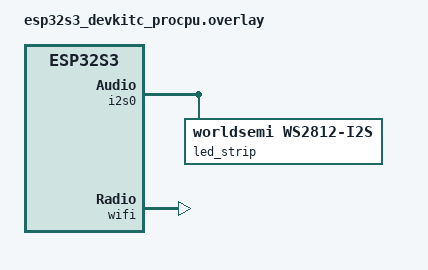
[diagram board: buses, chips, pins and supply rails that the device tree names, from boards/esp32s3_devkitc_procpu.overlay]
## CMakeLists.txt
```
# =============================================================== #
#                             BASIC SETUP                         #
# =============================================================== #
# Sets the minimum cmake version needed to build this project.
cmake_minimum_required(VERSION 3.20.0)

# This is a crucial line. It finds the main Zephyr RTOS installation (using the ZEPHYR_BASE environment variable).
find_package(Zephyr REQUIRED HINTS $ENV{ZEPHYR_BASE})

# Names the project "cyborg-app"
project(esp32s3-wifi-app)



# =============================================================== #
#                PROJECT SPECIFIC SETTING                         #
# =============================================================== #

# This line tells the compiler where to find your custom header files. i.e., inside the "lib" folder inside "src"
target_include_directories(app PRIVATE 
                                lib/led
                                lib/wifi
                                lib/udp
                                lib/tcp)

# This line tells the build system to link the C++ standard library.
target_link_libraries(app PUBLIC stdc++)

# Find all the source files relating led control and add them into led_sources
FILE(GLOB led_sources
        lib/led/*.cpp)

# Find all the source files relating wifi and add them into wifi_sources
FILE(GLOB wifi_sources
        lib/wifi/*.cpp)

# Find all the source files relating udp and add them into udp_sources
FILE(GLOB udp_sources
        lib/udp/*.cpp)

# Find all the source files relating tcp and add them into tcp_sources
FILE(GLOB tcp_sources
        lib/tcp/*.cpp)

# Take all these source files and compile them into my app target.
target_sources(app PRIVATE 
    ${led_sources}
    ${wifi_sources}
    ${udp_sources}
    ${tcp_sources}
    src/main.cpp)
```

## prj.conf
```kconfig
# ================================================================= #
#                          C++ SUPPORT IN ZEPHYR                    #
# ================================================================= #
# C++ support for the application
CONFIG_CPP=y

# Require complete C++ standard library
# Indicates that a full C++ standard library is required, either by a subsystem or an application. This will also include a full C library implementation.
CONFIG_REQUIRES_FULL_LIBCPP=y

# Choosing a C++ Standard
CONFIG_STD_CPP20=y


# ================================================================= #
#                       DEBUGGING                                   #
# ================================================================= #
# Global switch for the logger, when turned off log calls will not be compiled in.
CONFIG_LOG=y

# When enabled log is processed in the context of the call. It impacts performance of the system since time consuming operations are performed in the context of the log entry (e.g. high priority interrupt).Logger backends must support exclusive access to work flawlessly in that mode because one log operation can be interrupted by another one in the higher priority context.
CONFIG_LOG_MODE_IMMEDIATE=y



# ================================================================= #
#                       DRIVER                                      #
# ================================================================= #
# Include LED strip drivers in the system configuration.
CONFIG_LED_STRIP=y

# GPIO
CONFIG_GPIO=y

# Disable GPIO
CONFIG_INPUT_GPIO_KEYS=n



# ================================================================= #
#                       NETWORK                                     #
# ================================================================= #
# Enable Wifi
CONFIG_WIFI=y

# Enable Wi-Fi Network Manager
CONFIG_WIFI_NM=y

# Enable the auto init of the wifi
CONFIG_NET_CONFIG_AUTO_INIT=n

# Enable the network manager, which allows us to monitor the connection activity
CONFIG_NET_CONNECTION_MANAGER=y

# Allow the device to receive IP address automatically, via DHCPv4 algorithm, from the WiFi its connect
CONFIG_NET_DHCPV4=y

# Disable the device to give IP address for other devices because it doesn't operate in AP mode
CONFIG_NET_DHCPV4_SERVER=n

# Enable IPv4 support and set the maximum no. IPv4 address it can have. If this is enabled then the device is able to send and receive IPv4 network packets.
CONFIG_NET_IPV4=y
CONFIG_NET_IF_MAX_IPV4_COUNT=1

# Disable IPv6 support as we will focus on a simple solution with IPv4 first,
CONFIG_NET_IPV6=n

# This enables the foundational Layer 2 (Data Link Layer) support for any "Ethernet-like" network.
CONFIG_NET_L2_ETHERNET=y

# This enables the Wi-Fi-specific Layer 2 management services
CONFIG_NET_L2_WIFI_MGMT=y

# This is the main switch that enables the Network Management subsystem. It's the high-level API for controlling network interfaces.
CONFIG_NET_MGMT=y

# This specifically enables the event-based callback system.
CONFIG_NET_MGMT_EVENT=y

# This allows extra data (info) to be attached to an event.
CONFIG_NET_MGMT_EVENT_INFO=y

# It creates a queue that can hold up to 10 events. If network events happen faster than your application can process them, this queue holds them. If the queue fills up, new events are dropped.
CONFIG_NET_MGMT_EVENT_QUEUE_SIZE=10

# This is a memory setting. The network event system runs in its own background thread. This allocates 4096 bytes (4KB) of stack memory for that thread. This helps prevent stack overflows if your event handler function is complex.
CONFIG_NET_MGMT_EVENT_STACK_SIZE=4096

# These allocate a memory pool for 16 receive (RX) packets and 16 transmit (TX) packages
CONFIG_NET_PKT_RX_COUNT=16
CONFIG_NET_PKT_TX_COUNT=16

# How many network buffers are allocated for receiving/sending data. Each net_buf contains a small header and either a fixed or variable length data buffer
CONFIG_NET_BUF_RX_COUNT=64
CONFIG_NET_BUF_TX_COUNT=64

# This is the master switch. It enables the entire Zephyr networking stack (TCP, UDP, IPv4/IPv6, etc.)
CONFIG_NETWORKING=y

# Provide BSD Sockets like API on top of native Zephyr networking API.
CONFIG_NET_SOCKETS=y

# The socket service can monitor multiple sockets and save memory by only having one thread listening socket data. If data is received in the monitored socket, a user supplied work is called. Note that you need to set CONFIG_ZVFS_POLL_MAX high enough so that enough sockets entries can be serviced. This depends on system needs as multiple services can be activated at the same time depending on network configuration.
CONFIG_NET_SOCKETS_SERVICE=y

# This allocates 4096 bytes (4KB) of stack memory for the Sockets Service thread. Sockets are the API your application uses to interact with TCP and UDP
CONFIG_NET_SOCKETS_SERVICE_STACK_SIZE=4096

# This option enables the required POSIX System Interfaces
CONFIG_POSIX_API=y

# This enables/disable the Transmission Control Protocol (TCP). This is a reliable, connection-oriented protocol. You need this for services that require guaranteed data delivery.
CONFIG_NET_TCP=y

# This enables/disable the User Datagram Protocol (UDP). This is a fast, connectionless protocol that does not guarantee delivery
CONFIG_NET_UDP=y

# If enabled, then it is possible to fine-tune network packet pool for each context when sending network data. If this setting is enabled, then you should define the context pools in your application using NET_PKT_TX_POOL_DEFINE() and NET_PKT_DATA_POOL_DEFINE() macros and tie these pools to desired context using the net_context_setup_pools() function.
CONFIG_NET_CONTEXT_NET_PKT_POOL=y

# LOG Configuration
# [TODO]: Clean this after the device run in stably
CONFIG_NET_LOG=y

# Enable ARP support. This is necessary on hardware that requires it to get IPv4 working (like Ethernet devices).
CONFIG_NET_ARP=y

# If set, custom callbacks for arbitrary DHCP options can be added. These can be used to support otherwise DHCP options not used by the rest of the system.
CONFIG_NET_DHCPV4_OPTION_CALLBACKS=y





# ================================================================= #
#                       OTHER                                       #
# ================================================================= #
# This is for the DHCPV4 and WIFI
CONFIG_TEST_RANDOM_GENERATOR=y



# ================================================================= #
#                       MEMORY                                      #
# ================================================================= #
# This option instructs the kernel to initialize stack areas with a known value (0xaa) before they are first used, so that the high water mark can be easily determined. This applies to the stack areas for threads, as well as to the interrupt stack.
CONFIG_INIT_STACKS=y

# Size of stack for initialization and main thread
CONFIG_MAIN_STACK_SIZE=2048



# ================================================================= #
#                       CUSTOMIZED                                  #
# ================================================================= #
CONFIG_USING_UDP=n
CONFIG_USING_TCP=y
```

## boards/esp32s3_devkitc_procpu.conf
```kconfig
# Enable ESP32 SoC WiFi support.
CONFIG_WIFI_ESP32=y

# Turn off AP-STA mode and only 1 interface is managed
CONFIG_ESP32_WIFI_AP_STA_MODE=n
CONFIG_WIFI_NM_MAX_MANAGED_INTERFACES=1

# This allows as soon as the ESP32 successfully connects to a router, it will automatically run the DHCPv4 client to get an IP address.
CONFIG_ESP32_WIFI_STA_AUTO_DHCPV4=y

# Enable Wi-Fi Network Manager
CONFIG_WIFI_NM=y
```

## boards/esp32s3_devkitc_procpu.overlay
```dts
/******************************************************************************
Module: esp32s3_tiny_esp32s3_procpu.overlay

Description: This is an overlay for the board configuration of esp3s3_tiny, defined in the "board" folder
******************************************************************************/
/******************************************************************************
                INCLUDES
 *****************************************************************************/
#include <zephyr/dt-bindings/led/led.h>


/******************************************************************************
                HARDWARE PIN CONFIGURATION AND ALIASES
 *****************************************************************************/
/ {
	aliases {
		rbg-led = &led_strip;
	};
};


/******************************************************************************
                LED
 *****************************************************************************/
&pinctrl {
	i2s0_pinconf: i2s0_pinconf {
		group1 {
			pinmux = <I2S0_O_SD_GPIO38>;
			output-enable;
		};
	};
};

&i2s0 {
	pinctrl-0 = <&i2s0_default>;
	pinctrl-names = "default";
	status = "okay";
};

&dma {
	status = "okay";
};

i2s_led: &i2s0 {
	status = "okay";

	pinctrl-0 = <&i2s0_pinconf>;

	dmas = <&dma 3>;
	dma-names = "tx";

	led_strip: ws2812 {
		compatible = "worldsemi,ws2812-i2s";

		i2s-dev = <&i2s_led>;
		chain-length = <1>;
		color-mapping = <LED_COLOR_ID_RED
						 LED_COLOR_ID_GREEN
				         LED_COLOR_ID_BLUE>;
		reset-delay = <500>;
	};
};

/******************************************************************************
                    NETWORK
 *****************************************************************************/
&wifi {
	status = "okay";
};

/ {
	wifi_ap: wifi_ap {
		compatible = "espressif,esp32-wifi";
		status = "okay";
	};
};
```

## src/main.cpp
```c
/******************************************************************************
Module: MAIN.CPP

Description: This project attempts to control an ESP32S3 module via WiFi using Zephyr. 
             The ESP32S3 will connect to a known wifi network, and open TCP or UDP socket 
             to connect to it. Two python scripts can be used to transfer the data to the 
             ESP32S3 devices using these two protocol
******************************************************************************/
/******************************************************************************
  INCLUDE
 *****************************************************************************/
// Zephyr RTOS
#include <zephyr/logging/log.h>
#include <zephyr/kernel.h>
#include <zephyr/drivers/spi.h>
#include <zephyr/sys/util.h>
#include <zephyr/drivers/led_strip.h>
#include <zephyr/device.h>
#include <zephyr/kernel.h>
#include <zephyr/logging/log.h>
#include <zephyr/net/wifi_mgmt.h>
#include <zephyr/net/dhcpv4_server.h>
#include <zephyr/devicetree.h>

// Standard Library
#include <cstring>
#include <memory>

// Customized Library
#include "led.h"
#include "wifi.h"
#include "udp.h"
#include "tcp.h"



/******************************************************************************
  LOGGING SETUP
 *****************************************************************************/
LOG_MODULE_REGISTER(main, LOG_LEVEL_INF);



/******************************************************************************
  RGB LED - WS2812
 *****************************************************************************/
// NOTE: Although the PCB has only one LED, the built-in LED strip driver of 
//       Zephyr is used. Thus, existing "strip-related" variable like "RGB_LED_NUM_PIXELS"

#define RGB_LED_NODE	DT_ALIAS(rbg_led)

#if DT_NODE_HAS_PROP(DT_ALIAS(rbg_led), chain_length)
#define RGB_LED_NUM_PIXELS	DT_PROP(DT_ALIAS(rbg_led), chain_length)
#else
#error Unable to determine length of LED strip
#endif

static struct led_rgb pixels[RGB_LED_NUM_PIXELS];

static const struct device *const rgb_led = DEVICE_DT_GET(RGB_LED_NODE);

std::unique_ptr<SINGLE_RGB_LED_WS2812> rgb_led_ptr; // Object for the RGB LED



/******************************************************************************
  WIFI
 *****************************************************************************/
// [TODO]: Input the WIFI ID and password of your network
#define WIFI_SSID "wifi_ssid"     
#define WIFI_PSK  "wifi_password"



/******************************************************************************
  UDP
 *****************************************************************************/
// [TODO]: Modify the port for your application here and the python script
#define UDP_SERVER_PORT 4321



/******************************************************************************
  TCP
 *****************************************************************************/
// [TODO]: Modify the port for your application here and the python script
#define TCP_SERVER_PORT 4321



/******************************************************************************
  MAIN
 *****************************************************************************/
int main(void)
{

#if defined(CONFIG_USING_UDP) && defined(CONFIG_USING_TCP)
  LOG_ERR("The current development doesn't allow UDP and TCP running at the same time");
  return 0;
#endif

  // ========================= RGB LED =============================== //

  // Display board information
  LOG_INF("The board that we are working with is: %s", CONFIG_BOARD);

  // Check availability of the RGB LED
  if (device_is_ready(rgb_led)) 
  {
		LOG_INF("Found LED strip device %s", rgb_led->name);

    // Create the unique pointer for 
    rgb_led_ptr = std::make_unique<SINGLE_RGB_LED_WS2812>(rgb_led, pixels);
	} 
  else 
  {
		LOG_ERR("LED strip device %s is not ready", rgb_led->name);
		return 0;
	}

  // Turn the LED to RED indicate WIFI connection status, which is "disconnected"
  rgb_led_ptr->set_color_for_rgb_led(color_for_led_rgb::RED);

  // ========================= WIFI =============================== //

  // This sleep is used in the WIFI example
  LOG_INF("Sleep for 5s to follow the WIFI example initialization procedure...");
  k_sleep(K_SECONDS(5));

  // Create the WIFI object
  WIFI_STA_NETWORK wifi_sta_net(WIFI_SSID, WIFI_PSK, rgb_led_ptr.get());

  // Initialize the WIFI object and register for callback event
  wifi_sta_net.initialize_network();

  // ========================= MAIN LOOP =============================== //
  while (1)
  {
    // This function will block main.cpp until an IPv4 address is given to the ESP32S3, i.e., the WIFI connection is done
     wifi_sta_net.wait_for_ip();

     {      
      // ========================= UDP =============================== //
#if defined(CONFIG_USING_UDP)
      // Create UDP object
      UDP_SERVER udp_server(UDP_SERVER_PORT, rgb_led_ptr.get());
        
      // Start the UDP server
      udp_server.start_udp_server();
#endif 

      // ========================= TCP =============================== //

#if defined(CONFIG_USING_TCP)
      // Create TCP object
      TCP_SERVER tcp_server(TCP_SERVER_PORT, rgb_led_ptr.get());
        
      // Start the TCP server
      tcp_server.start_tcp_server();
#endif 

      // The loop will wait here for disconnection semaphore 
      wifi_sta_net.wait_for_wifi_to_disconnect();
    }

  }

	return 0;
}
```
